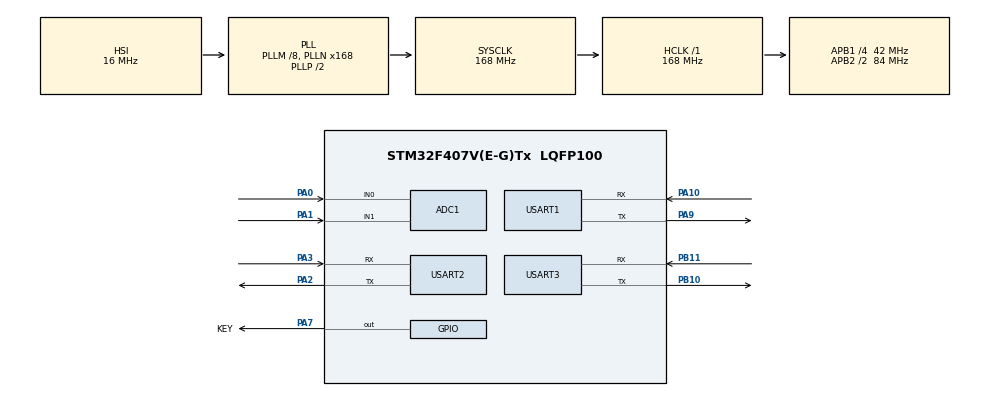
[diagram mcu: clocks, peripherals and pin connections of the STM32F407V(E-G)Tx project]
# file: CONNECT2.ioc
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ADC1.Channel-0\#ChannelRegularConversion=ADC_CHANNEL_0
ADC1.NbrOfConversionFlag=1
ADC1.Rank-0\#ChannelRegularConversion=1
ADC1.SamplingTime-0\#ChannelRegularConversion=ADC_SAMPLETIME_3CYCLES
ADC1.master=1
Dma.Request0=USART3_RX
Dma.Request1=USART2_RX
Dma.USART2_RX.1.Direction=DMA_PERIPH_TO_MEMORY
Dma.USART2_RX.1.FIFOMode=DMA_FIFOMODE_DISABLE
Dma.USART2_RX.1.Instance=DMA1_Stream5
Dma.USART2_RX.1.MemDataAlignment=DMA_MDATAALIGN_BYTE
Dma.USART2_RX.1.MemInc=DMA_MINC_ENABLE
Dma.USART2_RX.1.Mode=DMA_CIRCULAR
Dma.USART2_RX.1.PeriphDataAlignment=DMA_PDATAALIGN_BYTE
Dma.USART2_RX.1.PeriphInc=DMA_PINC_DISABLE
Dma.USART2_RX.1.Priority=DMA_PRIORITY_LOW
Dma.USART3_RX.0.Direction=DMA_PERIPH_TO_MEMORY
Dma.USART3_RX.0.FIFOMode=DMA_FIFOMODE_DISABLE
Dma.USART3_RX.0.Instance=DMA1_Stream1
Dma.USART3_RX.0.MemDataAlignment=DMA_MDATAALIGN_BYTE
Dma.USART3_RX.0.MemInc=DMA_MINC_ENABLE
Dma.USART3_RX.0.Mode=DMA_CIRCULAR
Dma.USART3_RX.0.PeriphDataAlignment=DMA_PDATAALIGN_BYTE
Dma.USART3_RX.0.PeriphInc=DMA_PINC_DISABLE
Dma.USART3_RX.0.Priority=DMA_PRIORITY_LOW
Mcu.Family=STM32F4
Mcu.Name=STM32F407V(E-G)Tx
Mcu.Package=LQFP100
NVIC.DMA1_Stream1_IRQn=true\:0\:0\:false\:false\:true\:false\:true\:true
NVIC.DMA1_Stream5_IRQn=true\:0\:0\:false\:false\:true\:false\:true\:true
NVIC.PriorityGroup=NVIC_PRIORITYGROUP_4
NVIC.USART1_IRQn=true\:0\:0\:false\:false\:true\:true\:true\:true
NVIC.USART2_IRQn=true\:0\:0\:false\:false\:true\:true\:true\:true
NVIC.USART3_IRQn=true\:0\:0\:false\:false\:true\:true\:true\:true
PA0-WKUP.Signal=ADCx_IN0
PA1.Signal=ADCx_IN1
PA10.Mode=Asynchronous
PA10.Signal=USART1_RX
PA13.Mode=Serial_Wire
PA13.Signal=SYS_JTMS-SWDIO
PA14.Mode=Serial_Wire
PA14.Signal=SYS_JTCK-SWCLK
PA2.Mode=Asynchronous
PA2.Signal=USART2_TX
PA3.Mode=Asynchronous
PA3.Signal=USART2_RX
PA7.GPIO_Label=KEY
PA7.GPIO_ModeDefaultOutputPP=GPIO_MODE_OUTPUT_OD
PA7.GPIO_PuPd=GPIO_NOPULL
PA7.Signal=GPIO_Output
PA9.Mode=Asynchronous
PA9.Signal=USART1_TX
PB10.Mode=Asynchronous
PB10.Signal=USART3_TX
PB11.Mode=Asynchronous
PB11.Signal=USART3_RX
PH0-OSC_IN.Mode=HSE-External-Oscillator
PH0-OSC_IN.Signal=RCC_OSC_IN
PH1-OSC_OUT.Mode=HSE-External-Oscillator
PH1-OSC_OUT.Signal=RCC_OSC_OUT
ProjectManager.HeapSize=0x200
ProjectManager.StackSize=0x400
ProjectManager.TargetToolchain=MDK-ARM V5.32
RCC.48MHZClocksFreq_Value=84000000
RCC.AHBFreq_Value=168000000
RCC.APB1CLKDivider=RCC_HCLK_DIV4
RCC.APB1Freq_Value=42000000
RCC.APB1TimFreq_Value=84000000
RCC.APB2CLKDivider=RCC_HCLK_DIV2
RCC.APB2Freq_Value=84000000
RCC.APB2TimFreq_Value=168000000
RCC.CortexFreq_Value=168000000
RCC.HCLKFreq_Value=168000000
RCC.HSE_VALUE=25000000
RCC.HSI_VALUE=16000000
RCC.LSE_VALUE=32768
RCC.PLLM=8
RCC.PLLN=168
RCC.SYSCLKFreq_VALUE=168000000
RCC.SYSCLKSource=RCC_SYSCLKSOURCE_PLLCLK
RCC.VCOOutputFreq_Value=336000000
SH.ADCx_IN0.0=ADC1_IN0,IN0
SH.ADCx_IN1.0=ADC1_IN1,IN1
USART1.VirtualMode=VM_ASYNC
USART2.VirtualMode=VM_ASYNC
USART3.VirtualMode=VM_ASYNC
board=custom

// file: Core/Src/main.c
/* USER CODE BEGIN Header */
/**
 ******************************************************************************
 * @file           : main.c
 * @brief          : Main program body
 ******************************************************************************
 * @attention
 *
 * Copyright (c) 2024 STMicroelectronics.
 * All rights reserved.
 *
 * This software is licensed under terms that can be found in the LICENSE file
 * in the root directory of this software component.
 * If no LICENSE file comes with this software, it is provided AS-IS.
 *
 ******************************************************************************
 */
/* USER CODE END Header */
#include "main.h"
#include "adc.h"
#include "dma.h"
#include "usart.h"
#include "gpio.h"

/* USER CODE BEGIN Includes */

#include "game.h"
#include "Functions.h"
/* USER CODE END Includes */

/* USER CODE BEGIN PTD */

/**
 * mode 0 待�?�择模式
 * mode 1 指定位置下棋模式
 * mode 2 人机对弈模式,人先手（LCD�??
 * mode 3 人机对弈模式,电脑先手（LCD�??
 * mode 4 人机对弈模式,人先手（手动�??
 * mode 5 人机对弈模式,电脑先手（手动）
 */
int mode = -1;
int key = 0;
/* USER CODE END PTD */

void SystemClock_Config(void);

/* USER CODE BEGIN 0 */
int ADC_Value = 0;
/* USER CODE END 0 */

int main(void)
{

  /* MCU Configuration--------------------------------------------------------*/

  /* Reset of all peripherals, Initializes the Flash interface and the Systick. */
  HAL_Init();

  /* Configure the system clock */
  SystemClock_Config();

  /* Initialize all configured peripherals */
  MX_GPIO_Init();
  MX_DMA_Init();
  MX_USART1_UART_Init();
  MX_USART2_UART_Init();
  MX_USART3_UART_Init();
  MX_ADC1_Init();
  /* USER CODE BEGIN 2 */

  Send2LCD_Play();

  /* USER CODE END 2 */

  /* Infinite loop */
  /* USER CODE BEGIN WHILE */
  while (1)
  {
    Receive_OpenMV();
    Center_point[0] = OpenMV_rx_buffer[13];
    Center_point[1] = OpenMV_rx_buffer[14];
    // 对齐坐标

    //模式选择
    Receive_LCD_mode();
    switch (mode)
    {
    case 0:
    {
      HAL_ADC_Start(&hadc1);
      ADC_Value = HAL_ADC_GetValue(&hadc1);
      break;
    }
    case 1:
    {
			Chess_Clear();

      while (1)
      {
        Receive_OpenMV();
        HAL_UART_Receive(&huart1, LCD_rx_buffer, 18, 1000);
        for (int i = 0; i < 18; ++i)
        {
          if (LCD_rx_buffer[(i + 15) % 18] == 'E' && LCD_rx_buffer[(i + 16) % 18] == 'O' && LCD_rx_buffer[(i + 17) % 18] == 'M')
          {
            turn = LCD_rx_buffer[(i + 5) % 18] - 0x30;

            if (LCD_rx_buffer[i % 18] == 'c' && LCD_rx_buffer[(i + 1) % 18] == 'h' && LCD_rx_buffer[(i + 2) % 18] == 'e' && LCD_rx_buffer[(i + 3) % 18] == 's' && LCD_rx_buffer[(i + 4) % 18] == 's')
            {
              chess_board[0] = LCD_rx_buffer[(i + 6) % 18] - 0x30;
              chess_board[1] = LCD_rx_buffer[(i + 7) % 18] - 0x30;
              chess_board[2] = LCD_rx_buffer[(i + 8) % 18] - 0x30;
              chess_board[3] = LCD_rx_buffer[(i + 9) % 18] - 0x30;
              chess_board[4] = LCD_rx_buffer[(i + 10) % 18] - 0x30;
              chess_board[5] = LCD_rx_buffer[(i + 11) % 18] - 0x30;
              chess_board[6] = LCD_rx_buffer[(i + 12) % 18] - 0x30;
              chess_board[7] = LCD_rx_buffer[(i + 13) % 18] - 0x30;
              chess_board[8] = LCD_rx_buffer[(i + 14) % 18] - 0x30;
            }
            break;
          }
        }
        if (is_board_changed())
        {

          int cnt = 0;
            for (int i = 0; i < 9; i++)
              if(chess_board_old[i]) cnt++;
            for(int i = 0; i < 9; i++)
            {
              if(chess_board[i] != chess_board_old[i])
              {

                chess_board_old[i] = chess_board[i];
                if(cnt == 0 || cnt == 1)
                Send2RoboArm(Black_chess[Black_chess_num][0],Black_chess[Black_chess_num++][1],OpenMV_rx_save[3*i+1],OpenMV_rx_save[3*i+2]);
                else if (cnt == 2 || cnt == 3)
                Send2RoboArm(White_chess[White_chess_num][0],White_chess[White_chess_num++][1],OpenMV_rx_save[3*i+1],OpenMV_rx_save[3*i+2]);
                Send2LCD_Play();
              }
            }

          if(cnt == 4)
            break;
        }

      }
    }
    case 2: // 人机对弈，装置黑�??
    {
      Chess_Clear();
      /*默认下中间位�??*/
      pos[0] = 50;
      pos[1] = 50;
      pos[2] = 50;
      pos[3] = 50; // 下一个黑棋到中间

      Send2RoboArm(pos[0], pos[1], pos[2], pos[3]);
      Send2LCD_Play();

      if (turn < 0xf0)
        turn++;
      if (turn == 10)
        turn = 0;
      game(chess_board, best_position);
      chess_board[best_position[0] * 3 + best_position[1]] = 0x01;
      for (int j = 0; j < 9; j++)
      {
        chess_board_old[j] = chess_board[j];
      }
      for (int i = 0; i < 100; ++i)
        Send2LCD_Play();

      while (1)
      {
        /*玩家下棋*/
        if (!is_board_changed())
        {
          HAL_UART_Receive(&huart1, LCD_rx_buffer, 18, 1000);
          for (int i = 0; i < 18; ++i)
          {
            if (LCD_rx_buffer[(i + 15) % 18] == 'E' && LCD_rx_buffer[(i + 16) % 18] == 'O' && LCD_rx_buffer[(i + 17) % 18] == 'M')
            {

              if (LCD_rx_buffer[i % 18] == 'c' && LCD_rx_buffer[(i + 1) % 18] == 'h' && LCD_rx_buffer[(i + 2) % 18] == 'e' && LCD_rx_buffer[(i + 3) % 18] == 's' && LCD_rx_buffer[(i + 4) % 18] == 's')
              {
                chess_board[0] = LCD_rx_buffer[(i + 6) % 18] - 0x30;
                chess_board[1] = LCD_rx_buffer[(i + 7) % 18] - 0x30;
                chess_board[2] = LCD_rx_buffer[(i + 8) % 18] - 0x30;
                chess_board[3] = LCD_rx_buffer[(i + 9) % 18] - 0x30;
                chess_board[4] = LCD_rx_buffer[(i + 10) % 18] - 0x30;
                chess_board[5] = LCD_rx_buffer[(i + 11) % 18] - 0x30;
                chess_board[6] = LCD_rx_buffer[(i + 12) % 18] - 0x30;
                chess_board[7] = LCD_rx_buffer[(i + 13) % 18] - 0x30;
                chess_board[8] = LCD_rx_buffer[(i + 14) % 18] - 0x30;
              }
              break;
            }
          }
        }
        if (is_board_changed())
        {
          turn++;
          if (turn == 10)
            turn = 0;
          for (int j = 0; j < 9; j++)
          {
            chess_board_old[j] = chess_board[j];
          }
        }

        if (turn % 2 == 0)
        {

          if (turn < 0xf0)
            turn++;
          if (turn == 10)
            turn = 0;
          game(chess_board, best_position);
          chess_board[best_position[0] * 3 + best_position[1]] = 0x01;
          for (int j = 0; j < 9; j++)
          {
            chess_board_old[j] = chess_board[j];
          }
          for (int i = 0; i < 100; ++i)
            Send2LCD_Play();
        }
        if (turn % 2 == 1)
          Send2LCD_Play();
        if (mode != 2)

          break;

        /*结束�??�??*/
        if (checkWin1(chess_board) == 1)
        {
          turn = 0xf1;
          for (int i = 0; i < 100; ++i)
            Send2LCD_Play();
          for (int i = 0; i < 50; ++i)
            Send2LCD_Message(0x01);

          break;
        }
        else if (checkWin1(chess_board) == 2)
        {
          turn = 0xf2;
          for (int i = 0; i < 100; ++i)
            Send2LCD_Play();
          for (int i = 0; i < 50; ++i)
            Send2LCD_Message(0x02);

          break;
        }
      }
      if(is_equal())//平局
      {
        turn = 0xf3;
        for(int i=0;i<50;++i) Send2LCD_Message(0x03);
        for(int i=0;i<100;++i) Send2LCD_Play();
        break;
      }
      Receive_LCD_mode();
      if (mode != 2)
        break;
    }
    case 3: // 人机对弈，装置白�??
    {
      Chess_Clear();
      for (int i = 0; i < 50; ++i)
        Send2LCD_Message(0xf0); // 交换黑白�??
      Send2LCD_Play();
      while (1)
      {
        /*玩家下棋*/
        if (!is_board_changed())
        {
          HAL_UART_Receive(&huart1, LCD_rx_buffer, 18, 1000);
          for (int i = 0; i < 18; ++i)
          {
            if (LCD_rx_buffer[(i + 15) % 18] == 'E' && LCD_rx_buffer[(i + 16) % 18] == 'O' && LCD_rx_buffer[(i + 17) % 18] == 'M')
            {

              if (LCD_rx_buffer[i % 18] == 'c' && LCD_rx_buffer[(i + 1) % 18] == 'h' && LCD_rx_buffer[(i + 2) % 18] == 'e' && LCD_rx_buffer[(i + 3) % 18] == 's' && LCD_rx_buffer[(i + 4) % 18] == 's')
              {
                chess_board[0] = LCD_rx_buffer[(i + 6) % 18] - 0x30;
                chess_board[1] = LCD_rx_buffer[(i + 7) % 18] - 0x30;
                chess_board[2] = LCD_rx_buffer[(i + 8) % 18] - 0x30;
                chess_board[3] = LCD_rx_buffer[(i + 9) % 18] - 0x30;
                chess_board[4] = LCD_rx_buffer[(i + 10) % 18] - 0x30;
                chess_board[5] = LCD_rx_buffer[(i + 11) % 18] - 0x30;
                chess_board[6] = LCD_rx_buffer[(i + 12) % 18] - 0x30;
                chess_board[7] = LCD_rx_buffer[(i + 13) % 18] - 0x30;
                chess_board[8] = LCD_rx_buffer[(i + 14) % 18] - 0x30;
              }
              break;
            }
          }
        }
        if (is_board_changed())
        {
          turn++;
          if (turn == 10)
            turn = 0;
          for (int j = 0; j < 9; j++)
          {
            chess_board_old[j] = chess_board[j];
          }
        }
        //
        if (turn % 2 == 1)
        {

          if (turn < 0xf0)
            turn++;
          if (turn == 10)
            turn = 0;
          game(chess_board, best_position);
          chess_board[best_position[0] * 3 + best_position[1]] = 0x02;
          for (int j = 0; j < 9; j++)
          {
            chess_board_old[j] = chess_board[j];
          }
          for (int i = 0; i < 100; ++i)
            Send2LCD_Play();
        }
        if (turn % 2 == 0)
          Send2LCD_Play();

        /*结束�??�??*/
        if (checkWin1(chess_board) == 1)
        {
          turn = 0xf1;
          for (int i = 0; i < 100; ++i)
            Send2LCD_Play();
          for (int i = 0; i < 50; ++i)
            Send2LCD_Message(0x01);

          break;
        }
        else if (checkWin1(chess_board) == 2)
        {
          turn = 0xf2;
          for (int i = 0; i < 100; ++i)
            Send2LCD_Play();
          for (int i = 0; i < 50; ++i)
            Send2LCD_Message(0x02);

          break;
        }
        if(is_equal())//平局
        {
          turn = 0xf3;
          for(int i=0;i<50;++i) Send2LCD_Message(0x03);
          for(int i=0;i<100;++i) Send2LCD_Play();
          break;
        }
        if (mode != 3)
          break;
      }
      Receive_LCD_mode();
      if (mode != 3)
        break;
    }
    case 4: // 人机对弈，装置黑�??(手动)
    {
      Chess_Clear();
      /*默认下中间位�??*/
      Receive_OpenMV();

      pos[0] = Black_chess[Black_chess_num][0];
      pos[1] = Black_chess[Black_chess_num++][1];
      pos[2] = OpenMV_rx_save[13];
      pos[3] = OpenMV_rx_save[14]; // 下一个黑棋到中间

      Send2RoboArm(pos[0], pos[1], pos[2], pos[3]);
      Send2LCD_Play();

      if (turn < 0xf0)
        turn++;
      if (turn == 10)
        turn = 0;
      game(chess_board, best_position);
      chess_board[best_position[0] * 3 + best_position[1]] = 0x01;
      for (int j = 0; j < 9; j++)
      {
        chess_board_old[j] = chess_board[j];
      }
      for (int i = 0; i < 100; ++i)
        Send2LCD_Play();

      while (1)
      {
        /*玩家下棋*/
				Receive_OpenMV();
				Send2LCD_Play();

        if (is_button_pressed())
        {
          Receive_OpenMV();
          if (is_board_changed())
          {
            turn++;

            if (turn == 10)
              turn = 0;

            for (int j = 0; j < 9; j++)
            {
              chess_board_old[j] = chess_board[j];
            }

            for (int i = 0; i < 5; ++i)
              Send2LCD_Play();
						Receive_OpenMV();
          }
          else if(is_board_changed() == 2)
          {
            return_board();
          }
					if (turn % 2 == 0)
          {
            if (turn < 0xf0)
              turn++;
            if (turn == 10)
              turn = 0;
            game(chess_board, best_position);
            chess_board[best_position[0] * 3 + best_position[1]] = 0x01;

            RoboArm_Lay_Chess(); //

            Receive_OpenMV();
            for (int j = 0; j < 9; j++)
            {
              chess_board_old[j] = chess_board[j];
            }

            for (int i = 0; i < 100; ++i)
              Send2LCD_Play();
          }
          if (turn % 2 == 1)
            Send2LCD_Play();
          if (mode != 4)

            break;

          /*结束�??�??*/
          if (checkWin1(chess_board) == 1)
          {
            turn = 0xf1;
            for (int i = 0; i < 10; ++i)
              Send2LCD_Play();
            for (int i = 0; i < 5; ++i)
              Send2LCD_Message(0x01);

            break;
          }
          else if (checkWin1(chess_board) == 2)
          {
            turn = 0xf2;
            for (int i = 0; i < 10; ++i)
              Send2LCD_Play();
            for (int i = 0; i < 5; ++i)
              Send2LCD_Message(0x02);

            break;
          }
          if (is_equal()) // 平局
          {
            turn = 0xf3;
            for (int i = 0; i < 5; ++i)
              Send2LCD_Message(0x03);
            for (int i = 0; i < 10; ++i)
              Send2LCD_Play();
            break;
          }
        }
        Receive_LCD_mode();
        if (mode != 4)
          break;
      }
      Receive_LCD_mode();
      if (mode != 4)
        break;
    }
    case 5: // 人机对弈，装置白�??(手动)
    {
      Chess_Clear();
      for (int i = 0; i < 5; ++i)
        Send2LCD_Message(0xf0); // 交换黑白�??
      Send2LCD_Play();
      while (1)
      {
        /*玩家下棋*/
        if (is_button_pressed())
        {

            HAL_UART_Receive(&huart2, OpenMV_rx_buffer, 30, 1000);
            for (int i = 0; i < 30; ++i)
            {
              if (OpenMV_rx_buffer[(i + 27) % 30] == 'E' && OpenMV_rx_buffer[(i + 28) % 30] == 'O' && OpenMV_rx_buffer[(i + 29) % 30] == 'M')
              {
                for (int j = 0; j < 9; j++)
                  chess_board[j] = OpenMV_rx_buffer[(i + j * 3) % 30];
                break;
              }
            }

          if (is_board_changed() == 1)
          {
            turn++;
            if (turn == 10)
              turn = 0;
            for (int j = 0; j < 9; j++)
            {
              chess_board_old[j] = chess_board[j];
            }

            for (int i = 0; i < 5; ++i)
              Send2LCD_Play();
            RoboArm_Lay_Chess();
          }
          else if(is_board_changed() == 2)
          {
            return_board();
          }
          //
          if (turn % 2 == 1)
          {

            if (turn < 0xf0)
              turn++;
            if (turn == 10)
              turn = 0;
            game(chess_board, best_position);
            chess_board[best_position[0] * 3 + best_position[1]] = 0x02;
            for (int j = 0; j < 9; j++)
            {
              chess_board_old[j] = chess_board[j];
            }
            RoboArm_Lay_Chess();

            for (int i = 0; i < 10; ++i)
              Send2LCD_Play();
          }
          if (turn % 2 == 0)
            Send2LCD_Play();

          /*结束�??�??*/
          if (checkWin1(chess_board) == 1)
          {
            turn = 0xf1;
            for (int i = 0; i < 10; ++i)
              Send2LCD_Play();
            for (int i = 0; i < 5; ++i)
              Send2LCD_Message(0x01);

            break;
          }
          else if (checkWin1(chess_board) == 2)
          {
            turn = 0xf2;
            for (int i = 0; i < 10; ++i)
              Send2LCD_Play();
            for (int i = 0; i < 5; ++i)
              Send2LCD_Message(0x02);

            break;
          }
          if (is_equal()) // 平局
          {
            turn = 0xf3;
            for (int i = 0; i < 5; ++i)
              Send2LCD_Message(0x03);
            for (int i = 0; i < 10; ++i)
              Send2LCD_Play();
            break;
          }
          Receive_LCD_mode();
          if (mode != 5)
            break;
        }
      }
      Receive_LCD_mode();
      if (mode != 5)
        break;
    }
    default:
    {
//            while (1)
//            {
//      				Send2RoboArm(pos[0],pos[1],pos[2],pos[3]);
//      				HAL_Delay(5000);
//            }
      break;
    }
    }
    /* USER CODE END WHILE */

  }
}

void SystemClock_Config(void)
{
  RCC_OscInitTypeDef RCC_OscInitStruct = {0};
  RCC_ClkInitTypeDef RCC_ClkInitStruct = {0};

  /** Configure the main internal regulator output voltage
   */
  __HAL_RCC_PWR_CLK_ENABLE();
  __HAL_PWR_VOLTAGESCALING_CONFIG(PWR_REGULATOR_VOLTAGE_SCALE1);

  /** Initializes the RCC Oscillators according to the specified parameters
   * in the RCC_OscInitTypeDef structure.
   */
  RCC_OscInitStruct.OscillatorType = RCC_OSCILLATORTYPE_HSI;
  RCC_OscInitStruct.HSIState = RCC_HSI_ON;
  RCC_OscInitStruct.HSICalibrationValue = RCC_HSICALIBRATION_DEFAULT;
  RCC_OscInitStruct.PLL.PLLState = RCC_PLL_ON;
  RCC_OscInitStruct.PLL.PLLSource = RCC_PLLSOURCE_HSI;
  RCC_OscInitStruct.PLL.PLLM = 8;
  RCC_OscInitStruct.PLL.PLLN = 168;
  RCC_OscInitStruct.PLL.PLLP = RCC_PLLP_DIV2;
  RCC_OscInitStruct.PLL.PLLQ = 4;
  if (HAL_RCC_OscConfig(&RCC_OscInitStruct) != HAL_OK)
  {
    Error_Handler();
  }

  /** Initializes the CPU, AHB and APB buses clocks
   */
  RCC_ClkInitStruct.ClockType = RCC_CLOCKTYPE_HCLK | RCC_CLOCKTYPE_SYSCLK | RCC_CLOCKTYPE_PCLK1 | RCC_CLOCKTYPE_PCLK2;
  RCC_ClkInitStruct.SYSCLKSource = RCC_SYSCLKSOURCE_PLLCLK;
  RCC_ClkInitStruct.AHBCLKDivider = RCC_SYSCLK_DIV1;
  RCC_ClkInitStruct.APB1CLKDivider = RCC_HCLK_DIV4;
  RCC_ClkInitStruct.APB2CLKDivider = RCC_HCLK_DIV2;

  if (HAL_RCC_ClockConfig(&RCC_ClkInitStruct, FLASH_LATENCY_5) != HAL_OK)
  {
    Error_Handler();
  }
}

void Error_Handler(void)
{
  __disable_irq();
  while (1)
  {
  }
}
